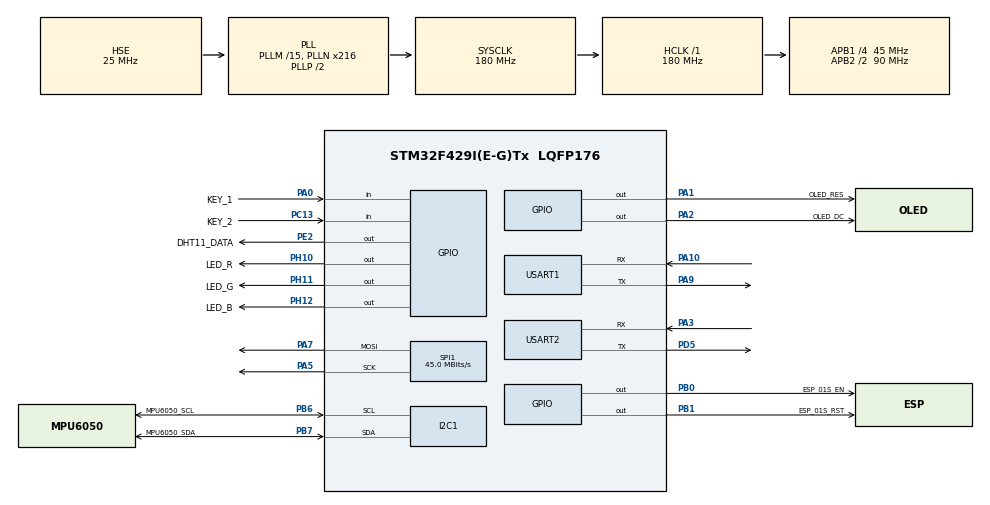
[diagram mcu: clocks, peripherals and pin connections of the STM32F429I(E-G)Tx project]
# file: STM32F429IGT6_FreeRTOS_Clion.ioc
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FREERTOS.INCLUDE_uxTaskGetStackHighWaterMark=1
FREERTOS.Mutexes01=USART1_Mutex,Static,USART1_MutexControlBlock
FREERTOS.Queues01=Temperature,4,uint8_t,0,Dynamic,NULL,NULL;Humidity,4,uint8_t,0,Dynamic,NULL,NULL
FREERTOS.Tasks01=defaultTask,0,128,StartDefaultTask,Default,NULL,Static,defaultTaskBuffer,defaultTaskControlBlock;Print1,-3,64,StartPrint1,Default,NULL,Dynamic,NULL,NULL;Print2,-3,64,StartPrint2,Default,NULL,Dynamic,NULL,NULL;LED,-2,64,StartLED,Default,NULL,Dynamic,NULL,NULL;KEY,-3,64,StartKEY,Default,NULL,Dynamic,NULL,NULL;DHT11,-3,80,StartDHT11,Default,NULL,Dynamic,NULL,NULL;OLED,-3,64,StartOLED,Default,NULL,Dynamic,NULL,NULL;ESP01S,-3,512,StartESP01S,Default,NULL,Dynamic,NULL,NULL
FREERTOS.configMINIMAL_STACK_SIZE=64
Mcu.Family=STM32F4
Mcu.Name=STM32F429I(E-G)Tx
Mcu.Package=LQFP176
NVIC.PriorityGroup=NVIC_PRIORITYGROUP_4
NVIC.TIM1_UP_TIM10_IRQn=true\:15\:0\:false\:false\:true\:false\:false\:true\:true
NVIC.TimeBase=TIM1_UP_TIM10_IRQn
NVIC.TimeBaseIP=TIM1
NVIC.USART1_IRQn=true\:5\:0\:false\:false\:true\:true\:true\:true\:true
NVIC.USART2_IRQn=true\:6\:0\:true\:false\:true\:true\:true\:true\:true
PA0/WKUP.GPIO_Label=KEY_1
PA0/WKUP.Signal=GPIO_Input
PA1.GPIO_Label=OLED_RES
PA1.Signal=GPIO_Output
PA10.Mode=Asynchronous
PA10.Signal=USART1_RX
PA13.Mode=JTAG_5_pins
PA13.Signal=SYS_JTMS-SWDIO
PA14.Mode=JTAG_5_pins
PA14.Signal=SYS_JTCK-SWCLK
PA15.Mode=JTAG_5_pins
PA15.Signal=SYS_JTDI
PA2.GPIO_Label=OLED_DC
PA2.Signal=GPIO_Output
PA3.Mode=Asynchronous
PA3.Signal=USART2_RX
PA5.Mode=TX_Only_Simplex_Unidirect_Master
PA5.Signal=SPI1_SCK
PA7.Mode=TX_Only_Simplex_Unidirect_Master
PA7.Signal=SPI1_MOSI
PA9.Mode=Asynchronous
PA9.Signal=USART1_TX
PB0.GPIO_Label=ESP_01S_EN
PB0.Signal=GPIO_Output
PB1.GPIO_Label=ESP_01S_RST
PB1.Signal=GPIO_Output
PB3.Mode=JTAG_5_pins
PB3.Signal=SYS_JTDO-SWO
PB4.Mode=JTAG_5_pins
PB4.Signal=SYS_JTRST
PB6.GPIO_Label=MPU6050_SCL
PB6.Mode=I2C
PB6.Signal=I2C1_SCL
PB7.GPIO_Label=MPU6050_SDA
PB7.Mode=I2C
PB7.Signal=I2C1_SDA
PC13.GPIO_Label=KEY_2
PC13.Signal=GPIO_Input
PC14/OSC32_IN.Mode=LSE-External-Oscillator
PC14/OSC32_IN.Signal=RCC_OSC32_IN
PC15/OSC32_OUT.Mode=LSE-External-Oscillator
PC15/OSC32_OUT.Signal=RCC_OSC32_OUT
PD5.Mode=Asynchronous
PD5.Signal=USART2_TX
PE2.GPIO_Label=DHT11_DATA
PE2.Signal=GPIO_Output
PH0/OSC_IN.Mode=HSE-External-Oscillator
PH0/OSC_IN.Signal=RCC_OSC_IN
PH1/OSC_OUT.Mode=HSE-External-Oscillator
PH1/OSC_OUT.Signal=RCC_OSC_OUT
PH10.GPIO_Label=LED_R
PH10.Signal=GPIO_Output
PH11.GPIO_Label=LED_G
PH11.Signal=GPIO_Output
PH12.GPIO_Label=LED_B
PH12.Signal=GPIO_Output
ProjectManager.HeapSize=0x200
ProjectManager.StackSize=0x400
ProjectManager.TargetToolchain=STM32CubeIDE
RCC.48MHZClocksFreq_Value=90000000
RCC.AHBFreq_Value=180000000
RCC.APB1CLKDivider=RCC_HCLK_DIV4
RCC.APB1Freq_Value=45000000
RCC.APB1TimFreq_Value=90000000
RCC.APB2CLKDivider=RCC_HCLK_DIV2
RCC.APB2Freq_Value=90000000
RCC.APB2TimFreq_Value=180000000
RCC.CortexFreq_Value=180000000
RCC.HCLKFreq_Value=180000000
RCC.HSE_VALUE=25000000
RCC.HSI_VALUE=16000000
RCC.PLLM=15
RCC.PLLN=216
RCC.PLLSourceVirtual=RCC_PLLSOURCE_HSE
RCC.SYSCLKFreq_VALUE=180000000
RCC.SYSCLKSource=RCC_SYSCLKSOURCE_PLLCLK
RCC.VCOOutputFreq_Value=360000000
SPI1.CalculateBaudRate=45.0 MBits/s
SPI1.Direction=SPI_DIRECTION_2LINES
SPI1.Mode=SPI_MODE_MASTER
SPI1.VirtualType=VM_MASTER
USART1.VirtualMode=VM_ASYNC
USART2.VirtualMode=VM_ASYNC
VP_FREERTOS_VS_CMSIS_V1.Mode=CMSIS_V1
VP_SYS_VS_tim1.Mode=TIM1
board=custom

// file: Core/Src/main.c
/* USER CODE BEGIN Header */
/**
  ******************************************************************************
  * @file           : main.c
  * @brief          : Main program body
  ******************************************************************************
  * @attention
  *
  * Copyright (c) 2022 STMicroelectronics.
  * All rights reserved.
  *
  * This software is licensed under terms that can be found in the LICENSE file
  * in the root directory of this software component.
  * If no LICENSE file comes with this software, it is provided AS-IS.
  *
  ******************************************************************************
  */
/* USER CODE END Header */
#include "main.h"
#include "cmsis_os.h"
#include "i2c.h"
#include "spi.h"
#include "usart.h"
#include "gpio.h"

void SystemClock_Config(void);
void MX_FREERTOS_Init(void);

/* USER CODE BEGIN 0 */
uint8_t a;
uint8_t b;

/* USER CODE END 0 */

int main(void)
{

  /* MCU Configuration--------------------------------------------------------*/

  /* Reset of all peripherals, Initializes the Flash interface and the Systick. */
  HAL_Init();

  /* Configure the system clock */
  SystemClock_Config();

  /* Initialize all configured peripherals */
  MX_GPIO_Init();
  MX_USART1_UART_Init();
  MX_I2C1_Init();
  MX_SPI1_Init();
  MX_USART2_UART_Init();
  /* USER CODE BEGIN 2 */
  RetargetInit(&huart1);
  LED_Init();
  OLED_Init();
  ESP_Init();

  HAL_UART_Receive_IT(&huart2, &a, 1);
  HAL_UART_Receive_IT(&huart1, &b, 1);

  /* USER CODE END 2 */

  /* Call init function for freertos objects (in freertos.c) */
  MX_FREERTOS_Init();

  /* Start scheduler */
  osKernelStart();

  /* We should never get here as control is now taken by the scheduler */
  /* Infinite loop */
  while (1)
  {

  }
}

void SystemClock_Config(void)
{
  RCC_OscInitTypeDef RCC_OscInitStruct = {0};
  RCC_ClkInitTypeDef RCC_ClkInitStruct = {0};

  /** Configure the main internal regulator output voltage
  */
  __HAL_RCC_PWR_CLK_ENABLE();
  __HAL_PWR_VOLTAGESCALING_CONFIG(PWR_REGULATOR_VOLTAGE_SCALE1);

  /** Initializes the RCC Oscillators according to the specified parameters
  * in the RCC_OscInitTypeDef structure.
  */
  RCC_OscInitStruct.OscillatorType = RCC_OSCILLATORTYPE_HSE;
  RCC_OscInitStruct.HSEState = RCC_HSE_ON;
  RCC_OscInitStruct.PLL.PLLState = RCC_PLL_ON;
  RCC_OscInitStruct.PLL.PLLSource = RCC_PLLSOURCE_HSE;
  RCC_OscInitStruct.PLL.PLLM = 15;
  RCC_OscInitStruct.PLL.PLLN = 216;
  RCC_OscInitStruct.PLL.PLLP = RCC_PLLP_DIV2;
  RCC_OscInitStruct.PLL.PLLQ = 4;
  if (HAL_RCC_OscConfig(&RCC_OscInitStruct) != HAL_OK)
  {
    Error_Handler();
  }

  /** Activate the Over-Drive mode
  */
  if (HAL_PWREx_EnableOverDrive() != HAL_OK)
  {
    Error_Handler();
  }

  /** Initializes the CPU, AHB and APB buses clocks
  */
  RCC_ClkInitStruct.ClockType = RCC_CLOCKTYPE_HCLK|RCC_CLOCKTYPE_SYSCLK
                              |RCC_CLOCKTYPE_PCLK1|RCC_CLOCKTYPE_PCLK2;
  RCC_ClkInitStruct.SYSCLKSource = RCC_SYSCLKSOURCE_PLLCLK;
  RCC_ClkInitStruct.AHBCLKDivider = RCC_SYSCLK_DIV1;
  RCC_ClkInitStruct.APB1CLKDivider = RCC_HCLK_DIV4;
  RCC_ClkInitStruct.APB2CLKDivider = RCC_HCLK_DIV2;

  if (HAL_RCC_ClockConfig(&RCC_ClkInitStruct, FLASH_LATENCY_5) != HAL_OK)
  {
    Error_Handler();
  }
}

void HAL_TIM_PeriodElapsedCallback(TIM_HandleTypeDef *htim)
{
  if (htim->Instance == TIM1) {
    HAL_IncTick();
  }
}

void Error_Handler(void)
{
  __disable_irq();
  while (1)
  {
  }
}

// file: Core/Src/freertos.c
/* USER CODE BEGIN Header */
/**
  ******************************************************************************
  * File Name          : freertos.c
  * Description        : Code for freertos applications
  ******************************************************************************
  * @attention
  *
  * Copyright (c) 2022 STMicroelectronics.
  * All rights reserved.
  *
  * This software is licensed under terms that can be found in the LICENSE file
  * in the root directory of this software component.
  * If no LICENSE file comes with this software, it is provided AS-IS.
  *
  ******************************************************************************
  */
/* USER CODE END Header */

#include "FreeRTOS.h"
#include "task.h"
#include "main.h"
#include "cmsis_os.h"

osThreadId defaultTaskHandle;
uint32_t defaultTaskBuffer[ 128 ];
osStaticThreadDef_t defaultTaskControlBlock;
osThreadId Print1Handle;
osThreadId Print2Handle;
osThreadId LEDHandle;
osThreadId KEYHandle;
osThreadId DHT11Handle;
osThreadId OLEDHandle;
osThreadId ESP01SHandle;
osMessageQId TemperatureHandle;
osMessageQId HumidityHandle;
osMutexId USART1_MutexHandle;
osStaticMutexDef_t USART1_MutexControlBlock;

void StartDefaultTask(void const * argument);
void StartPrint1(void const * argument);
void StartPrint2(void const * argument);
void StartLED(void const * argument);
void StartKEY(void const * argument);
void StartDHT11(void const * argument);
void StartOLED(void const * argument);
void StartESP01S(void const * argument);

void MX_FREERTOS_Init(void); /* (MISRA C 2004 rule 8.1) */

/* GetIdleTaskMemory prototype (linked to static allocation support) */
void vApplicationGetIdleTaskMemory( StaticTask_t **ppxIdleTaskTCBBuffer, StackType_t **ppxIdleTaskStackBuffer, uint32_t *pulIdleTaskStackSize );

/* USER CODE BEGIN GET_IDLE_TASK_MEMORY */
static StaticTask_t xIdleTaskTCBBuffer;
static StackType_t xIdleStack[configMINIMAL_STACK_SIZE];

void vApplicationGetIdleTaskMemory( StaticTask_t **ppxIdleTaskTCBBuffer, StackType_t **ppxIdleTaskStackBuffer, uint32_t *pulIdleTaskStackSize )
{
  *ppxIdleTaskTCBBuffer = &xIdleTaskTCBBuffer;
  *ppxIdleTaskStackBuffer = &xIdleStack[0];
  *pulIdleTaskStackSize = configMINIMAL_STACK_SIZE;
  /* place for user code */
}
/* USER CODE END GET_IDLE_TASK_MEMORY */

void MX_FREERTOS_Init(void) {
  /* Create the mutex(es) */
  /* definition and creation of USART1_Mutex */
  osMutexStaticDef(USART1_Mutex, &USART1_MutexControlBlock);
  USART1_MutexHandle = osMutexCreate(osMutex(USART1_Mutex));

  /* Create the queue(s) */
  /* definition and creation of Temperature */
  osMessageQDef(Temperature, 4, uint8_t);
  TemperatureHandle = osMessageCreate(osMessageQ(Temperature), NULL);

  /* definition and creation of Humidity */
  osMessageQDef(Humidity, 4, uint8_t);
  HumidityHandle = osMessageCreate(osMessageQ(Humidity), NULL);

  /* Create the thread(s) */
  /* definition and creation of defaultTask */
  osThreadStaticDef(defaultTask, StartDefaultTask, osPriorityNormal, 0, 128, defaultTaskBuffer, &defaultTaskControlBlock);
  defaultTaskHandle = osThreadCreate(osThread(defaultTask), NULL);

  /* definition and creation of Print1 */
  osThreadDef(Print1, StartPrint1, osPriorityIdle, 0, 64);
  Print1Handle = osThreadCreate(osThread(Print1), NULL);

  /* definition and creation of Print2 */
  osThreadDef(Print2, StartPrint2, osPriorityIdle, 0, 64);
  Print2Handle = osThreadCreate(osThread(Print2), NULL);

  /* definition and creation of LED */
  osThreadDef(LED, StartLED, osPriorityLow, 0, 64);
  LEDHandle = osThreadCreate(osThread(LED), NULL);

  /* definition and creation of KEY */
  osThreadDef(KEY, StartKEY, osPriorityIdle, 0, 64);
  KEYHandle = osThreadCreate(osThread(KEY), NULL);

  /* definition and creation of DHT11 */
  osThreadDef(DHT11, StartDHT11, osPriorityIdle, 0, 80);
  DHT11Handle = osThreadCreate(osThread(DHT11), NULL);

  /* definition and creation of OLED */
  osThreadDef(OLED, StartOLED, osPriorityIdle, 0, 64);
  OLEDHandle = osThreadCreate(osThread(OLED), NULL);

  /* definition and creation of ESP01S */
  osThreadDef(ESP01S, StartESP01S, osPriorityIdle, 0, 512);
  ESP01SHandle = osThreadCreate(osThread(ESP01S), NULL);

}

void StartDefaultTask(void const * argument)
{
  /* USER CODE BEGIN StartDefaultTask */
  uint32_t task1, task2, task3, task4, task5, task6, task7, task8;
  /* Infinite loop */
  for(;;)
  {
      task1 = uxTaskGetStackHighWaterMark(NULL);
      task2 = uxTaskGetStackHighWaterMark(Print1Handle);
      task3 = uxTaskGetStackHighWaterMark(Print2Handle);
      task4 = uxTaskGetStackHighWaterMark(LEDHandle);
      task5 = uxTaskGetStackHighWaterMark(KEYHandle);
      task6 = uxTaskGetStackHighWaterMark(DHT11Handle);
      task7 = uxTaskGetStackHighWaterMark(OLEDHandle);
      task8 = uxTaskGetStackHighWaterMark(ESP01SHandle);
      printf("task1 : %ld\ntask2 : %ld\ntask3 : %ld\ntask4 : %ld\ntask5 : %ld\ntask6 : %ld\ntask7 : %ld\ntask8 : %ld\n",
             task1, task2, task3, task4, task5, task6, task7, task8);
    osDelay(100000);
  }
  /* USER CODE END StartDefaultTask */
}

void StartPrint1(void const * argument)
{
  /* USER CODE BEGIN StartPrint1 */
//    uint32_t a = 0;
  /* Infinite loop */
  for(;;)
  {

//    printf("a : %d\n", a);
//    xQueueReceive( QueuePrintHandle, &a, 0 );
    osDelay(1000);
  }
  /* USER CODE END StartPrint1 */
}

void StartPrint2(void const * argument)
{
  /* USER CODE BEGIN StartPrint2 */
//    uint32_t b = 0;

  /* Infinite loop */
  for(;;)
  {
//    printf("b : %d\n", b++);
//    xQueueSend( QueuePrintHandle, &b, 0);
    osDelay(3000);
  }
  /* USER CODE END StartPrint2 */
}

void StartLED(void const * argument)
{
  /* USER CODE BEGIN StartLED */
  uint32_t t;

  /* Infinite loop */
  for(;;)
  {

      for(t=0; t<1000; t++)
      {
          HAL_GPIO_WritePin(GPIOH, GPIO_PIN_10|GPIO_PIN_11|GPIO_PIN_12, GPIO_PIN_SET);
          Delay_us(1000-t);
          HAL_GPIO_WritePin(GPIOH, GPIO_PIN_10|GPIO_PIN_11|GPIO_PIN_12, GPIO_PIN_RESET);
          Delay_us(t);

      }
      for(t=0; t<1000; t++)
      {
          HAL_GPIO_WritePin(GPIOH, GPIO_PIN_10|GPIO_PIN_11|GPIO_PIN_12, GPIO_PIN_RESET);
          Delay_us(1000-t);
          HAL_GPIO_WritePin(GPIOH, GPIO_PIN_10|GPIO_PIN_11|GPIO_PIN_12, GPIO_PIN_SET);
          Delay_us(t);

      }

      osDelay(5000);

  }
  /* USER CODE END StartLED */
}

void StartKEY(void const * argument)
{
  /* USER CODE BEGIN StartKEY */
  /* Infinite loop */
  for(;;)
  {
      if(HAL_GPIO_ReadPin(KEY_2_GPIO_Port, KEY_2_Pin) == GPIO_PIN_SET)
      {
          //vTaskSuspendAll();
          HAL_GPIO_WritePin(LED_G_GPIO_Port, LED_G_Pin, GPIO_PIN_RESET);
      }
      if(HAL_GPIO_ReadPin(KEY_1_GPIO_Port, KEY_1_Pin) == GPIO_PIN_SET)
      {

          //xTaskResumeAll();
          HAL_GPIO_WritePin(LED_G_GPIO_Port, LED_G_Pin, GPIO_PIN_SET);
      }
    osDelay(20);
  }
  /* USER CODE END StartKEY */
}

void StartDHT11(void const * argument)
{
  /* USER CODE BEGIN StartDHT11 */

    DHT11_DATA_TypeDef DHT11_data = {0};
  /* Infinite loop */
  for(;;)
  {
    DHT11_Read_Temperature_and_Humidity(&DHT11_data);
    xQueueSend(TemperatureHandle, &DHT11_data.temperature_int, 0);
    //printf("T : %d.%d\n", DHT11_data.temperature_int, DHT11_data.temperature_float);
    xQueueSend(HumidityHandle, &DHT11_data.humidity_int, 0);
    //printf("H : %d.%d\t\n", DHT11_data.humidity_int, DHT11_data.humidity_float);
    osDelay(5000);
  }
  /* USER CODE END StartDHT11 */
}

void StartOLED(void const * argument)
{
  /* USER CODE BEGIN StartOLED */
    uint8_t T_int = 0;
    uint8_t T_float = 0;

    uint8_t H_int = 0;
    uint8_t H_float = 0;

    //title
    for(int i=0; i<7; i++)
    {
        OLED_Put_Char(i+1, 0, title[i]);
    }

    //temp
    OLED_Put_Char(2, 5, Characters[0]);//T
    OLED_Put_Char(3, 5, Characters[1]);//:
    //OLED_Put_Char(6, 5, Characters[3]);//.
    OLED_Put_Char(8, 5, Characters[4]);//°
    OLED_Put_Char(9, 5, Characters[5]);//C
    //he
    OLED_Put_Char(2, 6, Characters[2]);//H
    OLED_Put_Char(3, 6, Characters[1]);//:
    //OLED_Put_Char(6, 6, Characters[3]);//.
    OLED_Put_Char(9, 6, Characters[6]);//%

  /* Infinite loop */
  for(;;)
  {
      xQueueReceive(TemperatureHandle, &T_int, 0);
      xQueueReceive(HumidityHandle, &H_int, 0);

      //温度�??�?
      OLED_Put_Char(6, 5, Numbers[T_int/10]);
      //温度个�?
      OLED_Put_Char(7, 5, Numbers[T_int%10]);

      //湿度个�?
      OLED_Put_Char(6, 6, Numbers[H_int/10]);
      //湿度�??�?
      OLED_Put_Char(7, 6, Numbers[H_int%10]);

    osDelay(5000);
  }
  /* USER CODE END StartOLED */
}

void StartESP01S(void const * argument)
{
  /* USER CODE BEGIN StartESP01S */

  uint8_t s[128];
  /* Infinite loop */
  for(;;)
  {
    //printf("send:");
    //HAL_UART_Transmit(&huart2, (uint8_t *)"AT+CGMI\n", 8, 0x99);
    //printf("ESP01S : %s\n", s);

    osDelay(1000);
  }
  /* USER CODE END StartESP01S */
}
